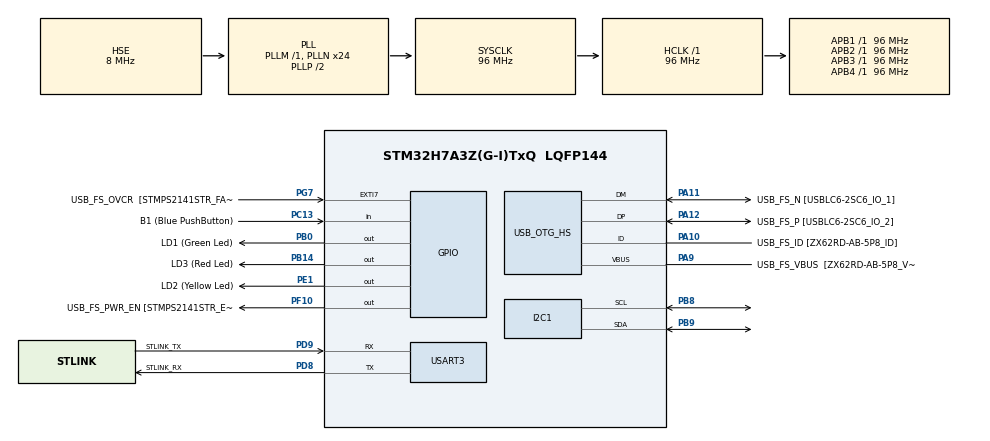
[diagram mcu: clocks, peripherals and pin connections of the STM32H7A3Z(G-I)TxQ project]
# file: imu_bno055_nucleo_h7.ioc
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I2C1.Timing=0x10B0DCFB
Mcu.Family=STM32H7
Mcu.Name=STM32H7A3Z(G-I)TxQ
Mcu.Package=LQFP144
NVIC.PriorityGroup=NVIC_PRIORITYGROUP_4
PA10.GPIO_Label=USB_FS_ID [ZX62RD-AB-5P8_ID]
PA10.Mode=OTG/Dual-Role-Device-FS
PA10.Signal=USB_OTG_HS_ID
PA11.GPIO_Label=USB_FS_N [USBLC6-2SC6_IO_1]
PA11.Mode=OTG/Dual-Role-Device-FS
PA11.Signal=USB_OTG_HS_DM
PA12.GPIO_Label=USB_FS_P [USBLC6-2SC6_IO_2]
PA12.Mode=OTG/Dual-Role-Device-FS
PA12.Signal=USB_OTG_HS_DP
PA9.GPIO_Label=USB_FS_VBUS  [ZX62RD-AB-5P8_VBUS]
PA9.Mode=Activate_VBUS_FS
PA9.Signal=USB_OTG_HS_VBUS
PB0.GPIO_Label=LD1 (Green Led)
PB0.Signal=GPIO_Output
PB14.GPIO_Label=LD3 (Red Led)
PB14.Signal=GPIO_Output
PB8.GPIO_Pu=GPIO_NOPULL
PB8.GPIO_Speed=GPIO_SPEED_FREQ_LOW
PB8.Mode=I2C
PB8.Signal=I2C1_SCL
PB9.GPIO_Pu=GPIO_NOPULL
PB9.GPIO_Speed=GPIO_SPEED_FREQ_LOW
PB9.Mode=I2C
PB9.Signal=I2C1_SDA
PC13.GPIO_Label=B1 (Blue PushButton)
PC13.Signal=GPIO_Input
PC14-OSC32_IN.GPIO_Label=OSC32_IN
PC14-OSC32_IN.Mode=LSE-External-Oscillator
PC14-OSC32_IN.Signal=RCC_OSC32_IN
PC15-OSC32_OUT.GPIO_Label=OSC32_OUT
PC15-OSC32_OUT.Mode=LSE-External-Oscillator
PC15-OSC32_OUT.Signal=RCC_OSC32_OUT
PD8.GPIO_Label=STLINK_RX
PD8.Mode=Asynchronous
PD8.Signal=USART3_TX
PD9.GPIO_Label=STLINK_TX
PD9.Mode=Asynchronous
PD9.Signal=USART3_RX
PE1.GPIO_Label=LD2 (Yellow Led)
PE1.Signal=GPIO_Output
PF10.GPIO_Label=USB_FS_PWR_EN [STMPS2141STR_EN]
PF10.Signal=GPIO_Output
PG7.GPIO_Label=USB_FS_OVCR  [STMPS2141STR_FAULT]
PG7.Signal=GPXTI7
PH0-OSC_IN.GPIO_Label=PH0-MCU
PH0-OSC_IN.Mode=HSE-External-Clock-Source
PH0-OSC_IN.Signal=RCC_OSC_IN
PH1-OSC_OUT.GPIO_Label=PH1-MCU
PH1-OSC_OUT.Signal=RCC_OSC_OUT
ProjectManager.HeapSize=0x200
ProjectManager.StackSize=0x400
ProjectManager.TargetToolchain=STM32CubeIDE
RCC.ADCFreq_Value=16125000
RCC.APB1Freq_Value=96000000
RCC.APB2Freq_Value=96000000
RCC.APB3Freq_Value=96000000
RCC.APB4Freq_Value=96000000
RCC.CortexFreq_Value=96000000
RCC.DIVM1=1
RCC.DIVM3=1
RCC.DIVN1=24
RCC.DIVN3=24
RCC.DIVQ1=4
RCC.HCLKFreq_Value=96000000
RCC.HSE_VALUE=8000000
RCC.PLLFRACN=0
RCC.PLLSourceVirtual=RCC_PLLSOURCE_HSE
RCC.PWR_Regulator_Voltage_Scale=PWR_REGULATOR_VOLTAGE_SCALE0
RCC.SYSCLKFreq_VALUE=96000000
RCC.SYSCLKSource=RCC_SYSCLKSOURCE_PLLCLK
RCC.SupplySource=PWR_DIRECT_SMPS_SUPPLY
RCC.USBCLockSelection=RCC_USBCLKSOURCE_HSI48
RCC.USBFreq_Value=48000000
USART3.VirtualMode-Asynchronous=VM_ASYNC
VP_MEMORYMAP_VS_MEMORYMAP.Mode=CurAppReg
board=NUCLEO-H7A3ZI-Q

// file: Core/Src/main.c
/* USER CODE BEGIN Header */
/**
  ******************************************************************************
  * @file           : main.c
  * @brief          : Main program body
  ******************************************************************************
  * @attention
  *
  * Copyright (c) 2024 STMicroelectronics.
  * All rights reserved.
  *
  * This software is licensed under terms that can be found in the LICENSE file
  * in the root directory of this software component.
  * If no LICENSE file comes with this software, it is provided AS-IS.
  *
  ******************************************************************************
  */
/* USER CODE END Header */
#include "main.h"

/* USER CODE BEGIN Includes */
#include <stdio.h>
#include "string.h"
#include "bno055_stm32.h"
/* USER CODE END Includes */

I2C_HandleTypeDef hi2c1;

UART_HandleTypeDef huart3;

void SystemClock_Config(void);
static void MX_GPIO_Init(void);
static void MX_USART3_UART_Init(void);
static void MX_USB_OTG_HS_USB_Init(void);
static void MX_I2C1_Init(void);

/* USER CODE BEGIN 0 */
void send_imu_data() {
	char buffer[100];

	// Get Orientation and Linear Acceleration data
	bno055_vector_t orient = bno055_getVectorEuler();
	bno055_vector_t linear = bno055_getVectorLinearAccel();

	// IMU data
	snprintf(buffer, sizeof(buffer),
			"[IMU Data] Orient: x= %.2f, y= %.2f, z= %.2f ; Linear: x= %.2f, y= %.2f, z= %.2f\r\n",
			orient.x, orient.y, orient.z, linear.x, linear.y, linear.z);

	HAL_UART_Transmit(&huart3, (uint8_t*) buffer, strlen(buffer), HAL_MAX_DELAY);
	HAL_Delay(100); // 10 Hz
}
/* USER CODE END 0 */

int main(void)
{

  /* MCU Configuration--------------------------------------------------------*/

  /* Reset of all peripherals, Initializes the Flash interface and the Systick. */
  HAL_Init();

  /* Configure the system clock */
  SystemClock_Config();

  /* Initialize all configured peripherals */
  MX_GPIO_Init();
  MX_USART3_UART_Init();
  MX_USB_OTG_HS_USB_Init();
  MX_I2C1_Init();
  /* USER CODE BEGIN 2 */
  bno055_assignI2C(&hi2c1);
  bno055_setup();
  bno055_setOperationModeNDOF();
  /* USER CODE END 2 */

  /* Infinite loop */
  while (1)
  {
	send_imu_data();
  }
}

void SystemClock_Config(void)
{
  RCC_OscInitTypeDef RCC_OscInitStruct = {0};
  RCC_ClkInitTypeDef RCC_ClkInitStruct = {0};

  /*AXI clock gating */
  RCC->CKGAENR = 0xFFFFFFFF;

  /** Supply configuration update enable
  */
  HAL_PWREx_ConfigSupply(PWR_DIRECT_SMPS_SUPPLY);

  /** Configure the main internal regulator output voltage
  */
  __HAL_PWR_VOLTAGESCALING_CONFIG(PWR_REGULATOR_VOLTAGE_SCALE0);

  while(!__HAL_PWR_GET_FLAG(PWR_FLAG_VOSRDY)) {}

  /** Initializes the RCC Oscillators according to the specified parameters
  * in the RCC_OscInitTypeDef structure.
  */
  RCC_OscInitStruct.OscillatorType = RCC_OSCILLATORTYPE_HSI48|RCC_OSCILLATORTYPE_HSE;
  RCC_OscInitStruct.HSEState = RCC_HSE_BYPASS;
  RCC_OscInitStruct.HSI48State = RCC_HSI48_ON;
  RCC_OscInitStruct.PLL.PLLState = RCC_PLL_ON;
  RCC_OscInitStruct.PLL.PLLSource = RCC_PLLSOURCE_HSE;
  RCC_OscInitStruct.PLL.PLLM = 1;
  RCC_OscInitStruct.PLL.PLLN = 24;
  RCC_OscInitStruct.PLL.PLLP = 2;
  RCC_OscInitStruct.PLL.PLLQ = 4;
  RCC_OscInitStruct.PLL.PLLR = 2;
  RCC_OscInitStruct.PLL.PLLRGE = RCC_PLL1VCIRANGE_3;
  RCC_OscInitStruct.PLL.PLLVCOSEL = RCC_PLL1VCOWIDE;
  RCC_OscInitStruct.PLL.PLLFRACN = 0;
  if (HAL_RCC_OscConfig(&RCC_OscInitStruct) != HAL_OK)
  {
    Error_Handler();
  }

  /** Initializes the CPU, AHB and APB buses clocks
  */
  RCC_ClkInitStruct.ClockType = RCC_CLOCKTYPE_HCLK|RCC_CLOCKTYPE_SYSCLK
                              |RCC_CLOCKTYPE_PCLK1|RCC_CLOCKTYPE_PCLK2
                              |RCC_CLOCKTYPE_D3PCLK1|RCC_CLOCKTYPE_D1PCLK1;
  RCC_ClkInitStruct.SYSCLKSource = RCC_SYSCLKSOURCE_PLLCLK;
  RCC_ClkInitStruct.SYSCLKDivider = RCC_SYSCLK_DIV1;
  RCC_ClkInitStruct.AHBCLKDivider = RCC_HCLK_DIV1;
  RCC_ClkInitStruct.APB3CLKDivider = RCC_APB3_DIV1;
  RCC_ClkInitStruct.APB1CLKDivider = RCC_APB1_DIV1;
  RCC_ClkInitStruct.APB2CLKDivider = RCC_APB2_DIV1;
  RCC_ClkInitStruct.APB4CLKDivider = RCC_APB4_DIV1;

  if (HAL_RCC_ClockConfig(&RCC_ClkInitStruct, FLASH_LATENCY_2) != HAL_OK)
  {
    Error_Handler();
  }
}

static void MX_I2C1_Init(void)
{

  hi2c1.Instance = I2C1;
  hi2c1.Init.Timing = 0x10B0DCFB;
  hi2c1.Init.OwnAddress1 = 0;
  hi2c1.Init.AddressingMode = I2C_ADDRESSINGMODE_7BIT;
  hi2c1.Init.DualAddressMode = I2C_DUALADDRESS_DISABLE;
  hi2c1.Init.OwnAddress2 = 0;
  hi2c1.Init.OwnAddress2Masks = I2C_OA2_NOMASK;
  hi2c1.Init.GeneralCallMode = I2C_GENERALCALL_DISABLE;
  hi2c1.Init.NoStretchMode = I2C_NOSTRETCH_DISABLE;
  if (HAL_I2C_Init(&hi2c1) != HAL_OK)
  {
    Error_Handler();
  }

  /** Configure Analogue filter
  */
  if (HAL_I2CEx_ConfigAnalogFilter(&hi2c1, I2C_ANALOGFILTER_ENABLE) != HAL_OK)
  {
    Error_Handler();
  }

  /** Configure Digital filter
  */
  if (HAL_I2CEx_ConfigDigitalFilter(&hi2c1, 0) != HAL_OK)
  {
    Error_Handler();
  }

}

static void MX_USART3_UART_Init(void)
{

  huart3.Instance = USART3;
  huart3.Init.BaudRate = 115200;
  huart3.Init.WordLength = UART_WORDLENGTH_8B;
  huart3.Init.StopBits = UART_STOPBITS_1;
  huart3.Init.Parity = UART_PARITY_NONE;
  huart3.Init.Mode = UART_MODE_TX_RX;
  huart3.Init.HwFlowCtl = UART_HWCONTROL_NONE;
  huart3.Init.OverSampling = UART_OVERSAMPLING_16;
  huart3.Init.OneBitSampling = UART_ONE_BIT_SAMPLE_DISABLE;
  huart3.Init.ClockPrescaler = UART_PRESCALER_DIV1;
  huart3.AdvancedInit.AdvFeatureInit = UART_ADVFEATURE_NO_INIT;
  if (HAL_UART_Init(&huart3) != HAL_OK)
  {
    Error_Handler();
  }
  if (HAL_UARTEx_SetTxFifoThreshold(&huart3, UART_TXFIFO_THRESHOLD_1_8) != HAL_OK)
  {
    Error_Handler();
  }
  if (HAL_UARTEx_SetRxFifoThreshold(&huart3, UART_RXFIFO_THRESHOLD_1_8) != HAL_OK)
  {
    Error_Handler();
  }
  if (HAL_UARTEx_DisableFifoMode(&huart3) != HAL_OK)
  {
    Error_Handler();
  }

}

static void MX_USB_OTG_HS_USB_Init(void)
{

}

static void MX_GPIO_Init(void)
{
  GPIO_InitTypeDef GPIO_InitStruct = {0};

  /* GPIO Ports Clock Enable */
  __HAL_RCC_GPIOC_CLK_ENABLE();
  __HAL_RCC_GPIOF_CLK_ENABLE();
  __HAL_RCC_GPIOH_CLK_ENABLE();
  __HAL_RCC_GPIOB_CLK_ENABLE();
  __HAL_RCC_GPIOD_CLK_ENABLE();
  __HAL_RCC_GPIOG_CLK_ENABLE();
  __HAL_RCC_GPIOA_CLK_ENABLE();
  __HAL_RCC_GPIOE_CLK_ENABLE();

  /*Configure GPIO pin Output Level */
  HAL_GPIO_WritePin(USB_FS_PWR_EN_GPIO_Port, USB_FS_PWR_EN_Pin, GPIO_PIN_RESET);

  /*Configure GPIO pin Output Level */
  HAL_GPIO_WritePin(GPIOB, LD1_Pin|LD3_Pin, GPIO_PIN_RESET);

  /*Configure GPIO pin Output Level */
  HAL_GPIO_WritePin(LD2_GPIO_Port, LD2_Pin, GPIO_PIN_RESET);

  /*Configure GPIO pin : B1_Pin */
  GPIO_InitStruct.Pin = B1_Pin;
  GPIO_InitStruct.Mode = GPIO_MODE_INPUT;
  GPIO_InitStruct.Pull = GPIO_NOPULL;
  HAL_GPIO_Init(B1_GPIO_Port, &GPIO_InitStruct);

  /*Configure GPIO pin : USB_FS_PWR_EN_Pin */
  GPIO_InitStruct.Pin = USB_FS_PWR_EN_Pin;
  GPIO_InitStruct.Mode = GPIO_MODE_OUTPUT_PP;
  GPIO_InitStruct.Pull = GPIO_NOPULL;
  GPIO_InitStruct.Speed = GPIO_SPEED_FREQ_LOW;
  HAL_GPIO_Init(USB_FS_PWR_EN_GPIO_Port, &GPIO_InitStruct);

  /*Configure GPIO pins : LD1_Pin LD3_Pin */
  GPIO_InitStruct.Pin = LD1_Pin|LD3_Pin;
  GPIO_InitStruct.Mode = GPIO_MODE_OUTPUT_PP;
  GPIO_InitStruct.Pull = GPIO_NOPULL;
  GPIO_InitStruct.Speed = GPIO_SPEED_FREQ_LOW;
  HAL_GPIO_Init(GPIOB, &GPIO_InitStruct);

  /*Configure GPIO pin : USB_FS_OVCR_Pin */
  GPIO_InitStruct.Pin = USB_FS_OVCR_Pin;
  GPIO_InitStruct.Mode = GPIO_MODE_IT_RISING;
  GPIO_InitStruct.Pull = GPIO_NOPULL;
  HAL_GPIO_Init(USB_FS_OVCR_GPIO_Port, &GPIO_InitStruct);

  /*Configure GPIO pin : USB_FS_VBUS_Pin */
  GPIO_InitStruct.Pin = USB_FS_VBUS_Pin;
  GPIO_InitStruct.Mode = GPIO_MODE_INPUT;
  GPIO_InitStruct.Pull = GPIO_NOPULL;
  HAL_GPIO_Init(USB_FS_VBUS_GPIO_Port, &GPIO_InitStruct);

  /*Configure GPIO pin : USB_FS_ID_Pin */
  GPIO_InitStruct.Pin = USB_FS_ID_Pin;
  GPIO_InitStruct.Mode = GPIO_MODE_AF_PP;
  GPIO_InitStruct.Pull = GPIO_NOPULL;
  GPIO_InitStruct.Speed = GPIO_SPEED_FREQ_LOW;
  GPIO_InitStruct.Alternate = GPIO_AF10_OTG1_HS;
  HAL_GPIO_Init(USB_FS_ID_GPIO_Port, &GPIO_InitStruct);

  /*Configure GPIO pins : USB_FS_N_Pin USB_FS_P_Pin */
  GPIO_InitStruct.Pin = USB_FS_N_Pin|USB_FS_P_Pin;
  GPIO_InitStruct.Mode = GPIO_MODE_AF_PP;
  GPIO_InitStruct.Pull = GPIO_NOPULL;
  GPIO_InitStruct.Speed = GPIO_SPEED_FREQ_LOW;
  HAL_GPIO_Init(GPIOA, &GPIO_InitStruct);

  /*Configure GPIO pin : LD2_Pin */
  GPIO_InitStruct.Pin = LD2_Pin;
  GPIO_InitStruct.Mode = GPIO_MODE_OUTPUT_PP;
  GPIO_InitStruct.Pull = GPIO_NOPULL;
  GPIO_InitStruct.Speed = GPIO_SPEED_FREQ_LOW;
  HAL_GPIO_Init(LD2_GPIO_Port, &GPIO_InitStruct);

}

void Error_Handler(void)
{
  __disable_irq();
  while (1)
  {
  }
}
